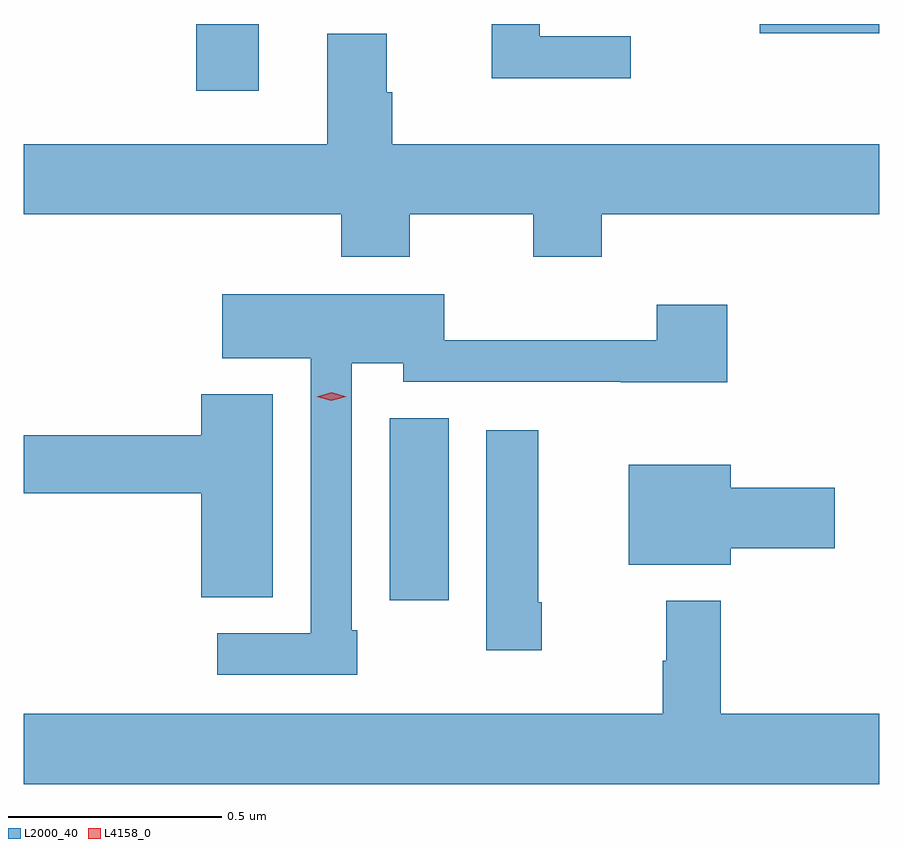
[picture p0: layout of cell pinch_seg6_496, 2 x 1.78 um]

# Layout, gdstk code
import gdstk
lib = gdstk.Library(unit=1e-6, precision=1e-09)
def R(c, l, rs):  # rectangles x0, y0, x1, y1
    for r in rs: c.add(gdstk.rectangle(r[:2], r[2:], *l))
def P(c, l, *ps):  # polygons
    for p in ps: c.add(gdstk.Polygon(p, *l))
L2000_40 = (2000, 40)
L4158_0 = (4158, 0)

pinch_seg6_496 = lib.new_cell('pinch_seg6_496')
R(pinch_seg6_496, L2000_40, [(875.981,946.434,876.118,946.859), (875.528,947.625,875.674,947.781), (876.846,947.759,877.125,947.781)])
P(pinch_seg6_496, L2000_40, [(876.544,947.752),(876.331,947.752),(876.331,947.781),(876.219,947.781),(876.219,947.654),(876.544,947.654)],
  [(876.027,947.336),(876.316,947.336),(876.316,947.237),(876.476,947.237),(876.476,947.336),(877.125,947.336),(877.125,947.5),(875.987,947.5),(875.987,947.621),(875.974,947.621),(875.974,947.758),(875.834,947.758),(875.834,947.5),(875.125,947.5),(875.125,947.336),(875.867,947.336),(875.867,947.237),(876.027,947.237)],
  [(875.905,946.363),(875.892,946.363),(875.892,946.988),(876.012,946.988),(876.012,946.944),(876.521,946.944),(876.521,946.943),(876.77,946.943),(876.77,947.125),(876.605,947.125),(876.605,947.042),(876.108,947.042),(876.108,947.149),(875.589,947.149),(875.589,947),(875.796,947),(875.796,946.356),(875.577,946.356),(875.577,946.26),(875.905,946.26)],
  [(875.707,946.915),(875.54,946.915),(875.54,946.82),(875.125,946.82),(875.125,946.684),(875.54,946.684),(875.54,946.441),(875.707,946.441)],
  [(876.336,946.429),(876.328,946.429),(876.328,946.831),(876.206,946.831),(876.206,946.317),(876.336,946.317)],
  [(876.778,946.555),(877.021,946.555),(877.021,946.697),(876.778,946.697),(876.778,946.75),(876.539,946.75),(876.539,946.517),(876.778,946.517)],
  [(877.125,946.168),(876.755,946.168),(876.755,946.432),(876.627,946.432),(876.627,946.292),(876.619,946.292),(876.619,946.168),(875.125,946.168),(875.125,946.004),(877.125,946.004)])
P(pinch_seg6_496, L4158_0, [(875.844,946.9),(875.81,946.91),(875.81,946.91),(875.81,946.91),(875.845,946.92),(875.879,946.91),(875.879,946.909),(875.879,946.909)])

lib.write_gds('pinch_seg6_496.gds')
